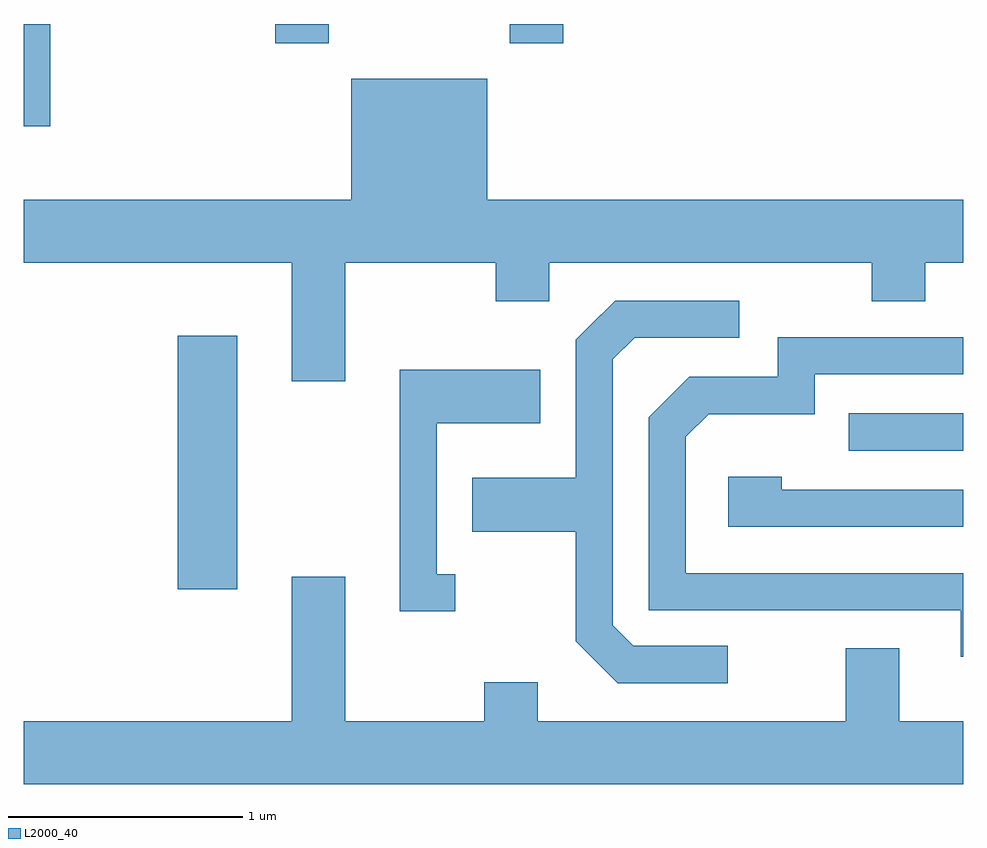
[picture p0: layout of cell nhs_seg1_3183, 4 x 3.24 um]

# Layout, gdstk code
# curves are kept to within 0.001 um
import gdstk
lib = gdstk.Library(unit=1e-6, precision=1e-09)
def R(c, l, rs):  # rectangles x0, y0, x1, y1
    for r in rs: c.add(gdstk.rectangle(r[:2], r[2:], *l))
def P(c, l, *ps):  # polygons
    for p in ps: c.add(gdstk.Polygon(p, *l))
L2000_40 = (2000, 40)

nhs_seg1_3183 = lib.new_cell('nhs_seg1_3183')
R(nhs_seg1_3183, L2000_40, [(282.266,889.306,282.519,890.384), (285.123,889.896,285.611,890.054), (281.611,891.276,281.724,891.712), (282.681,891.631,282.909,891.712), (283.681,891.631,283.909,891.712)])
P(nhs_seg1_3183, L2000_40, [(282.979,890.696),(283.621,890.696),(283.621,890.531),(283.849,890.531),(283.849,890.696),(285.221,890.696),(285.221,890.531),(285.449,890.531),(285.449,890.696),(285.611,890.696),(285.611,890.964),(283.584,890.964),(283.584,891.479),(283.006,891.479),(283.006,890.964),(281.611,890.964),(281.611,890.696),(282.751,890.696),(282.751,890.191),(282.979,890.191)],
  [(284.608,889.064),(284.207,889.064),(284.119,889.152),(284.119,890.284),(284.212,890.376),(284.658,890.376),(284.658,890.534),(284.129,890.534),(283.961,890.367),(283.961,889.779),(283.521,889.779),(283.521,889.551),(283.961,889.551),(283.961,889.084),(284.139,888.906),(284.608,888.906)],
  [(285.611,889.374),(284.429,889.374),(284.429,889.954),(284.527,890.051),(284.979,890.051),(284.979,890.221),(285.611,890.221),(285.611,890.379),(284.821,890.379),(284.821,890.209),(284.444,890.209),(284.271,890.037),(284.271,889.216),(285.601,889.216),(285.601,889.018),(285.611,889.018)],
  [(283.448,889.369),(283.369,889.369),(283.369,890.011),(283.809,890.011),(283.809,890.239),(283.211,890.239),(283.211,889.211),(283.448,889.211)],
  [(285.611,889.729),(284.839,889.729),(284.839,889.784),(284.611,889.784),(284.611,889.571),(285.611,889.571)],
  [(283.571,888.909),(283.571,888.744),(282.979,888.744),(282.979,889.359),(282.751,889.359),(282.751,888.744),(281.611,888.744),(281.611,888.476),(285.611,888.476),(285.611,888.744),(285.339,888.744),(285.339,889.054),(285.111,889.054),(285.111,888.744),(283.799,888.744),(283.799,888.909)])

lib.write_gds('nhs_seg1_3183.gds')
